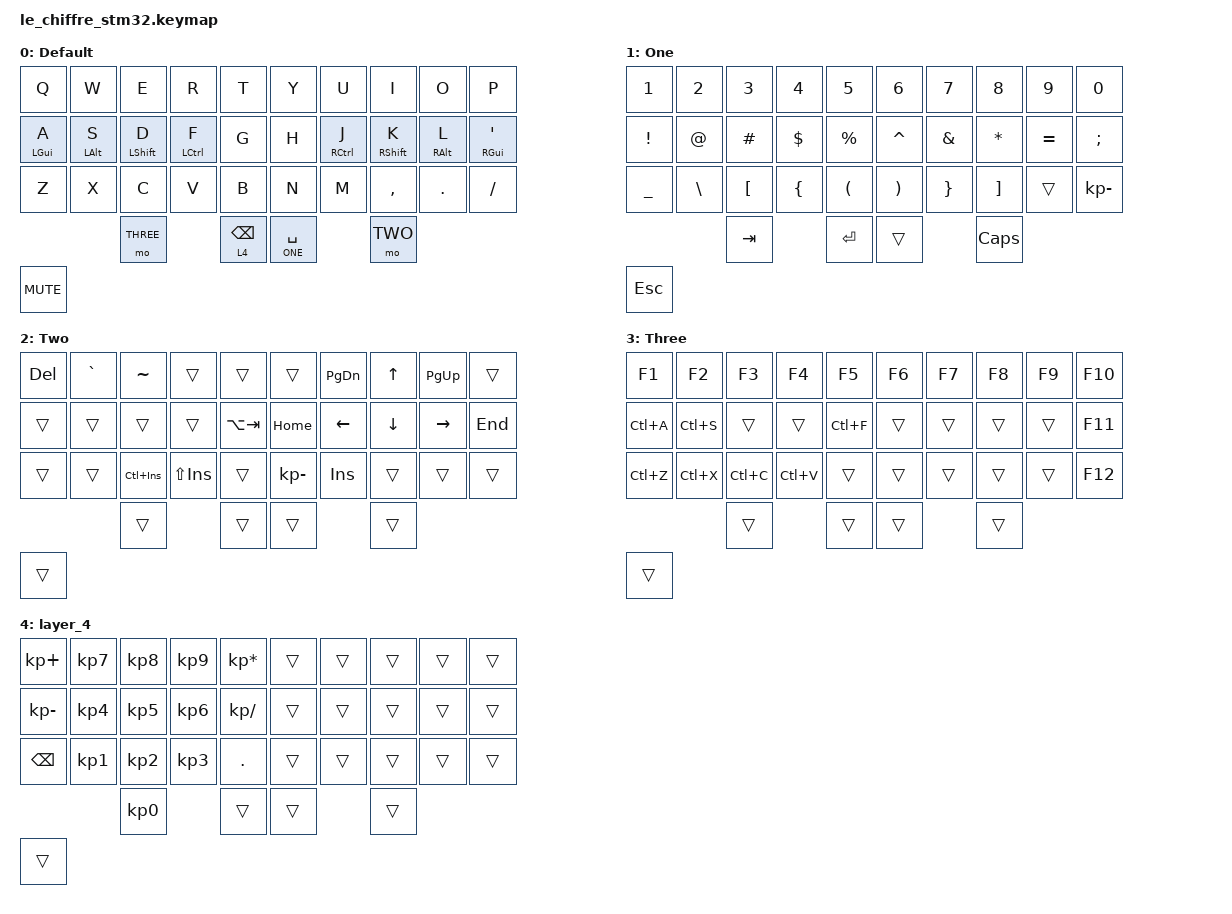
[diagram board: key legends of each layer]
/*
 * Copyright (c) 2020 The ZMK Contributors
 *
 * SPDX-License-Identifier: MIT
 */

#include <behaviors.dtsi>
#include <dt-bindings/zmk/keys.h>

#define BASE 0
#define ONE  1
#define TWO  2
#define THREE 3

&mt {
    flavor = "tap-preferred";
    tapping-term-ms = <200>;
    quick-tap-ms = <150>;
};

&lt {
    flavor = "tap-preferred";
    tapping-term-ms = <200>;
    quick-tap-ms = <150>;
};

&caps_word {
    continue-list = <UNDERSCORE MINUS BACKSPACE DELETE>;
};

/ {
    chosen {
        zmk,matrix_transform = &transform_with_encoder;
    };

    behaviors {
        st: shift_tap {
            compatible = "zmk,behavior-hold-tap";
            label = "SFT_TAP";
            #binding-cells = <2>;
            tapping-term-ms = <100>;
            quick-tap-ms = <75>;
            flavor = "tap-preferred";
            bindings =
                <&kp>,
                <&kp>;

            global-quick-tap;
        };
    };

    combos {
        compatible = "zmk,combos";

        combo_capsword {
            timeout-ms = <60>;
            key-positions = <12 17>;
            bindings = <&caps_word>;
        };

        new_combo {
            bindings = <&kp ENTER>;
            key-positions = <23 24>;
        };

        hold_backspace {
            bindings = <&kp BACKSPACE>;
            key-positions = <0 1>;
        };
    };

    keymap {
        compatible = "zmk,keymap";

        default_layer {
            label = "Default";

            // ---------------------------------------------------------------------------------------------------------------------------------
            // |  Q  |  W  |  E   |  R   |  T   |   MUTE    |  Y   |  U    |  I    |  O   |   P   |
            // |LG(A)|LA(S)|LS(D) | LC(F)|  G   |           |  H   |RC(J)  |RS(K)  |RA(L) |RG(')  |
            // |  Z  |  X  |  C   |  V   |  B   |           |  N   |  M    |  ,    |  .   |   /   |
            //              |   MO(3)  |  BSPC  |           |LT(SPACE)| MO(2) |

            bindings = <
     &kp Q       &kp W        &kp E        &kp R            &kp T              &kp Y        &kp U        &kp I       &kp O          &kp P
&mt LGUI A  &mt LALT S  &st LSHFT D  &mt LCTRL F            &kp G              &kp H  &mt RCTRL J  &st RSHFT K  &mt RALT L  &mt RGUI APOS
     &kp Z       &kp X        &kp C        &kp V            &kp B              &kp N        &kp M    &kp COMMA     &kp DOT       &kp FSLH
                          &mo THREE               &lt 4 BACKSPACE      &lt ONE SPACE                   &mo TWO
&kp C_MUTE
            >;
        };

        layer_1 {
            label = "One";

            // ---------------------------------------------------------------------------------------------------------------------------------
            // |  1  |  2  |  3   |  4   |  5   |   ESC     |  6   |  7    |  8    |  9   |   0   |
            // |  !  |  @  |  #   |  $   |  %   |           |  ^   |  &    |  *    |  =   |   ;   |
            // |  _  |  \  |  [   |  {   |  (   |           |  )   |  }    |  ]    |      |   -   |
            //              |   TAB   |   RET   |           |   TRANS   |CAPS|

            bindings = <
   &kp N1    &kp N2    &kp N3    &kp N4     &kp N5         &kp N6    &kp N7    &kp N8     &kp N9        &kp N0
 &kp EXCL    &kp AT  &kp HASH  &kp DLLR  &kp PRCNT      &kp CARET  &kp AMPS  &kp STAR  &kp EQUAL      &kp SEMI
&kp UNDER  &kp BSLH  &kp LBKT  &kp LBRC   &kp LPAR       &kp RPAR  &kp RBRC  &kp RBKT     &trans  &kp KP_MINUS
                      &kp TAB              &kp RET         &trans            &kp CAPS
  &kp ESC
            >;
        };

        layer_2 {
            label = "Two";

            // ---------------------------------------------------------------------------------------------------------------------------------
            // | DEL |  `  |   ~  |      |      |    TRANS  |      |  PG DN|  UP   | PG UP|       |
            // |     |     |      |      |ALTTAB|           | HOME | LEFT  |  DOWN |RIGHT |   END |
            // |     |     |LC(INS)|LS(INS)|    |           |      |  INS  |       |      |       |
            //              |         |         |           |         |      |

            bindings = <
&kp DEL  &kp GRAVE    &kp TILDE       &trans       &trans            &trans  &kp PG_DN    &kp UP  &kp PG_UP   &trans
 &trans     &trans       &trans       &trans  &kp LA(TAB)          &kp HOME   &kp LEFT  &kp DOWN  &kp RIGHT  &kp END
 &trans     &trans  &kp LC(INS)  &kp LS(INS)       &trans      &kp KP_MINUS    &kp INS    &trans     &trans   &trans
                         &trans                    &trans            &trans               &trans
 &trans
            >;
        };

        layer_3 {
            label = "Three";

            // ---------------------------------------------------------------------------------------------------------------------------------
            // |  F1 |  F2 |  F3  |  F4  |  F5  |   TRANS   | F6   |   F7  |   F8  |  F9  |  F10  |
            // |LC(A)|LC(S)|      |      |LC(F) |           |      |       |       |      |  F11  |
            // |LC(Z)|LC(X)|LC(C) |LC(V) |      |           |      |       |       |      |  F12  |
            //              |         |         |           |         |         |

            bindings = <
   &kp F1     &kp F2     &kp F3     &kp F4     &kp F5      &kp F6  &kp F7  &kp F8  &kp F9  &kp F10
&kp LC(A)  &kp LC(S)     &trans     &trans  &kp LC(F)      &trans  &trans  &trans  &trans  &kp F11
&kp LC(Z)  &kp LC(X)  &kp LC(C)  &kp LC(V)     &trans      &trans  &trans  &trans  &trans  &kp F12
                         &trans                &trans      &trans          &trans
   &trans
            >;
        };

        layer_4 {
            bindings = <
  &kp KP_PLUS  &kp KP_NUMBER_7  &kp KP_NUMBER_8  &kp KP_NUMBER_9  &kp KP_ASTERISK      &trans  &trans  &trans  &trans  &trans
 &kp KP_MINUS  &kp KP_NUMBER_4  &kp KP_NUMBER_5  &kp KP_NUMBER_6    &kp KP_DIVIDE      &trans  &trans  &trans  &trans  &trans
&kp BACKSPACE  &kp KP_NUMBER_1  &kp KP_NUMBER_2  &kp KP_NUMBER_3       &kp PERIOD      &trans  &trans  &trans  &trans  &trans
                                &kp KP_NUMBER_0                            &trans      &trans          &trans
       &trans
            >;
        };
    };
};
